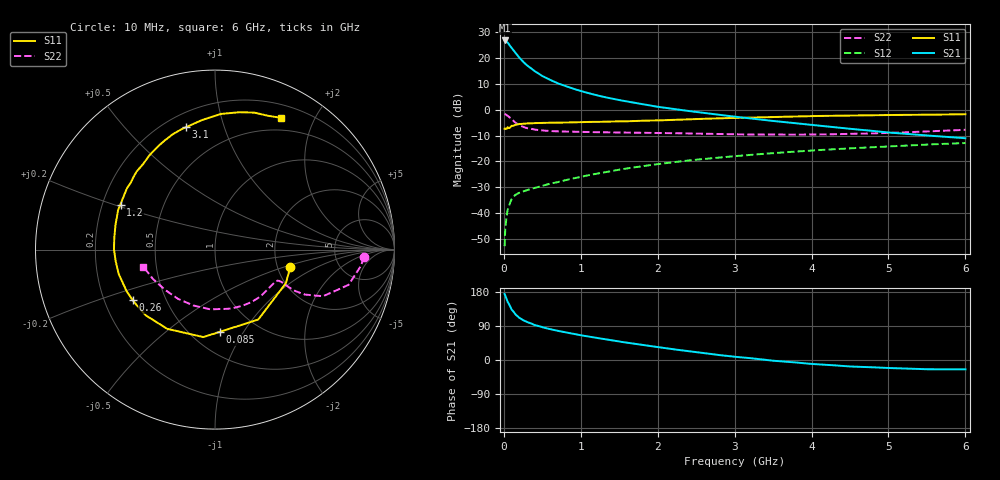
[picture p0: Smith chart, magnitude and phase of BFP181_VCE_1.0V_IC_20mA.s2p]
! Infineon Technologies  Discrete & RF Semiconductors
! BFP181
! VCE = 1.0 V,  IC =  20 mA
! Common Emitter S-Parameters:  Jan 2016
# GHz  S  MA  R  50
!  f  S11  S21  S12  S22
! GHz  MAG  ANG  MAG  ANG  MAG  ANG  MAG  ANG
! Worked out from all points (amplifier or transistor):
!   210 points, 10 MHz to 6 GHz, reference 50 ohm
!   highest |S21| = 26.8 dB at 10 MHz (marker M1)
!   |S21| within 3 dB of that: start of sweep to 104.8 MHz
!   unconditionally stable (mu >= 1): start of sweep to 27.87 MHz; 207.3 MHz to end of sweep
!   at 185 MHz: K = 0.93, MSG = 26.6 dB, |S12| = -32.4 dB
!   at 1.52 GHz: K = 2.44, MAG = 6.7 dB, |S12| = -23.1 dB
!   at 6 GHz: K = 2.17, MAG = -5.2 dB, |S12| = -12.9 dB
!   S11 on the Smith chart (normalised r, x): 10 MHz: 2.36, -0.55; 85 MHz: 0.68, -0.79; 260 MHz: 0.32, -0.26; 1.2 GHz: 0.28, +0.21; 3.1 GHz: 0.28, +0.75; 6 GHz: 0.35, +1.56
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0.01  0.4306 -12.8  21.95 174.4  0.0023 72.7  0.8305 -2.9
0.02  0.4371 -25.3  21.74 169.0  0.0053 75.9  0.8186 -6.3
0.05  0.4583 -58.3  20.03 153.2  0.0117 66.9  0.7697 -14.8
0.085  0.4589 -86.7  16.9 140.4  0.0164 55.6  0.6884 -20.5
0.1  0.4917 -97.6  15.88 133.5  0.0185 52.5  0.656 -23.3
0.15  0.5155 -121.1  12.64 120.3  0.0226 46.6  0.5645 -26.5
0.2  0.5318 -136.4  10.26 111.5  0.0248 43.1  0.5062 -27.3
0.24  0.535 -144.7  8.846 106.4  0.0261 42.1  0.4754 -27.1
0.26  0.538 -148.4  8.253 104.1  0.0267 41.8  0.4627 -27.0
0.3  0.5442 -154.7  7.267 100.2  0.0279 41.6  0.4427 -26.6
0.4  0.5536 -165.9  5.599 92.3  0.0308 43.5  0.4138 -26.0
0.5  0.5574 -173.6  4.502 86.4  0.0336 44.4  0.3982 -26.0
0.6  0.5629 179.8  3.797 81.4  0.0372 47.1  0.3884 -26.5
0.7  0.5645 174.5  3.25 76.9  0.0399 48.9  0.3824 -27.5
1.02  0.5763 161.2  2.26 64.7  0.051 52.3  0.373 -32.1
1.2  0.5833 154.5  1.924 58.6  0.0577 52.9  0.369 -35.4
1.5  0.5981 145.0  1.541 48.6  0.0694 53.6  0.3649 -41.3
2.02  0.6241 129.5  1.133 33.6  0.0894 51.7  0.357 -53.1
3.1  0.7007 103.4  0.71 6.8  0.1304 44.1  0.3337 -82.3
4.1  0.7598 85.8  0.494 -11.6  0.1664 35.2  0.3335 -114.2
5.1  0.7951 72.8  0.355 -21.7  0.1989 25.9  0.3614 -144.4
6  0.8212 63.4  0.282 -24.7  0.2274 16.8  0.4106 -166.7
